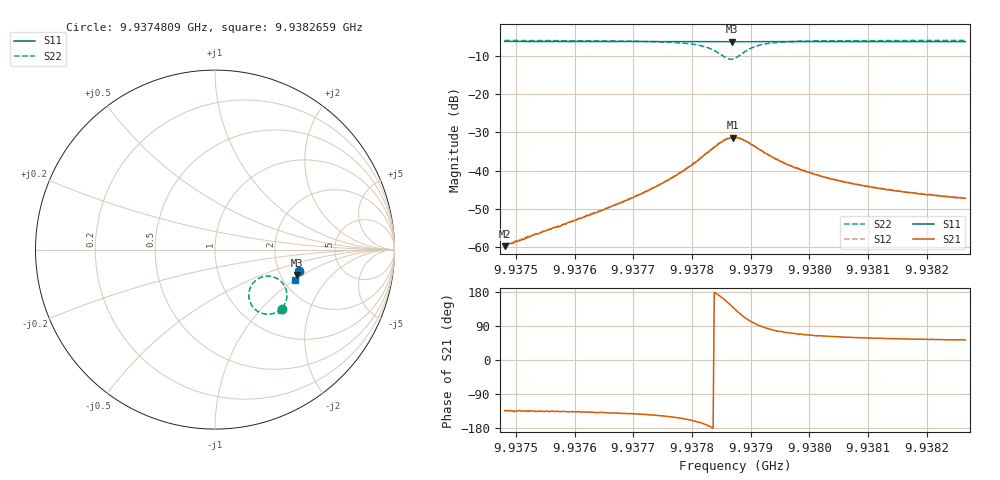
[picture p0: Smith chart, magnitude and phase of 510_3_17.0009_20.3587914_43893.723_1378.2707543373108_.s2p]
#  HZ  S  RI  R  50.00
! Rohde & Schwarz Vector Network Analyzer
! Rohde-Schwarz,ZNB20-2Port,1311601062101988,3.16
! Created: UTC 3/20/2024, 11:14:58 PM
! freq[Hz]  re:S11  im:S11  re:S21  im:S21  re:S12  im:S12  re:S22  im:S22
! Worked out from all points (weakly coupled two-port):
!   401 points, 9.9374809 GHz to 9.9382659 GHz, reference 50 ohm
!   highest |S21| = -31.37 dB at 9.9378695 GHz (marker M1); lowest = -59.7 dB at 9.9374809 GHz (marker M2)
!   lowest |S11| = -6.4 dB at 9.9378675 GHz (marker M3), VSWR 2.83, Z = 122 - j45.5 ohm
!   |S11| at or under -10 dB: nowhere
!   |S22| runs from -11.0 to -6.1 dB; largest |S21 - S12| = 0.0011
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9.93748089e9  0.4677 -0.1202  -0.000716 -0.000754  -0.000747 -0.000743  0.3719 -0.329
9.93761238e9  0.4646 -0.1291  -0.00178 -0.00164  -0.00183 -0.00164  0.356 -0.341
9.93768107e9  0.4629 -0.1338  -0.00301 -0.00242  -0.00307 -0.00244  0.3419 -0.3491
9.93774387e9  0.4611 -0.1382  -0.00542 -0.00354  -0.00557 -0.00354  0.3181 -0.3573
9.93778901e9  0.4596 -0.1413  -0.00951 -0.00427  -0.00976 -0.00419  0.2827 -0.3593
9.93782238e9  0.4579 -0.1434  -0.016 -0.003  -0.0162 -0.00255  0.2325 -0.3401
9.93783611e9  0.4571 -0.1439  -0.0196 -6.65e-05  -0.02 0.000333  0.2059 -0.3128
9.93784985e9  0.4563 -0.1442  -0.0229 0.00557  -0.0232 0.00634  0.1886 -0.2632
9.93785967e9  0.4558 -0.1441  -0.0231 0.0114  -0.0233 0.0124  0.1951 -0.2164
9.93786752e9  0.4556 -0.1442  -0.0214 0.0163  -0.0212 0.0172  0.2172 -0.1811
9.93786948e9  0.4558 -0.1442  -0.0205 0.0175  -0.0203 0.0185  0.2251 -0.1734
9.9378734e9  0.4559 -0.1439  -0.0186 0.0195  -0.0182 0.0204  0.2425 -0.1615
9.93788322e9  0.4563 -0.1443  -0.0133 0.0224  -0.0126 0.0232  0.2904 -0.1478
9.93789695e9  0.4568 -0.1449  -0.00598 0.0223  -0.0053 0.0228  0.346 -0.1613
9.93791854e9  0.457 -0.1466  0.000534 0.0183  0.00104 0.0182  0.388 -0.204
9.93793817e9  0.457 -0.1483  0.00284 0.0146  0.00306 0.0147  0.3991 -0.2359
9.93795976e9  0.4565 -0.15  0.00367 0.0117  0.00401 0.0119  0.4004 -0.2601
9.93800489e9  0.4556 -0.1531  0.00377 0.00837  0.00402 0.00836  0.3949 -0.2893
9.93805592e9  0.4542 -0.1567  0.00354 0.0063  0.00372 0.00635  0.3875 -0.3071
9.93813638e9  0.452 -0.162  0.00312 0.00473  0.00322 0.00468  0.3774 -0.3226
9.93819919e9  0.4505 -0.1662  0.00281 0.00396  0.00295 0.00398  0.3712 -0.3306
9.93826591e9  0.4484 -0.1704  0.00262 0.00349  0.00274 0.00349  0.3653 -0.3374
